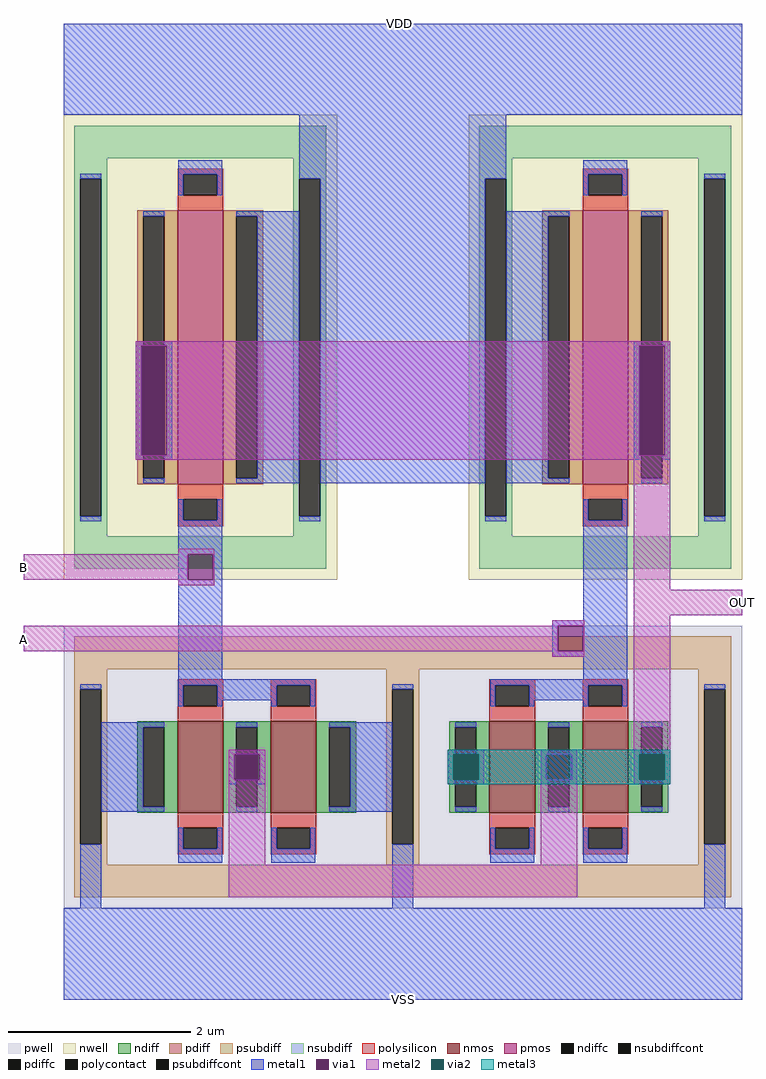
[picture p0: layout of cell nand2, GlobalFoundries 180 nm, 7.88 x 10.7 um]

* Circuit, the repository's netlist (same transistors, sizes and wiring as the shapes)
* NGSPICE file created from nand2.ext - technology: gf180mcuD

.subckt nfet_03v3_EMCFTP a_n378_n286# a_n52_n100# a_52_n192# a_n152_n192# a_152_n100#
+ a_n240_n100#
X0 a_152_n100# a_52_n192# a_n52_n100# a_n378_n286# nfet_03v3 ad=0.44p pd=2.88u as=0.26p ps=1.52u w=1u l=0.5u
X1 a_n52_n100# a_n152_n192# a_n240_n100# a_n378_n286# nfet_03v3 ad=0.26p pd=1.52u as=0.44p ps=2.88u w=1u l=0.5u
.ends

.subckt pfet_03v3_LJVJK4 w_n300_n510# a_n138_n300# a_n50_n392# a_50_n300#
X0 a_50_n300# a_n50_n392# a_n138_n300# w_n300_n510# pfet_03v3 ad=1.32p pd=6.88u as=1.32p ps=6.88u w=3u l=0.5u
.ends

.subckt nand2 VDD OUT A B VSS
XXM1 VSS m1_1652_n588# B B VSS VSS nfet_03v3_EMCFTP
XXM2 VDD OUT B VDD pfet_03v3_LJVJK4
Xnfet_03v3_EMCFTP_0 VSS m1_1652_n588# A A OUT OUT nfet_03v3_EMCFTP
Xpfet_03v3_LJVJK4_0 VDD VDD A OUT pfet_03v3_LJVJK4
.ends

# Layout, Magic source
magic
tech gf180mcuD
magscale 1 10
<< nwell >>
rect 1290 -140 1890 880
rect 2178 -140 2778 880
<< pwell >>
rect 1290 -860 2778 -240
<< nmos >>
rect 1540 -650 1640 -450
rect 1744 -650 1844 -450
rect 2224 -650 2324 -450
rect 2428 -650 2528 -450
<< pmos >>
rect 1540 70 1640 670
rect 2428 70 2528 670
<< ndiff >>
rect 1452 -463 1540 -450
rect 1452 -637 1465 -463
rect 1511 -637 1540 -463
rect 1452 -650 1540 -637
rect 1640 -463 1744 -450
rect 1640 -637 1669 -463
rect 1715 -637 1744 -463
rect 1640 -650 1744 -637
rect 1844 -463 1932 -450
rect 1844 -637 1873 -463
rect 1919 -637 1932 -463
rect 1844 -650 1932 -637
rect 2136 -463 2224 -450
rect 2136 -637 2149 -463
rect 2195 -637 2224 -463
rect 2136 -650 2224 -637
rect 2324 -463 2428 -450
rect 2324 -637 2353 -463
rect 2399 -637 2428 -463
rect 2324 -650 2428 -637
rect 2528 -463 2616 -450
rect 2528 -637 2557 -463
rect 2603 -637 2616 -463
rect 2528 -650 2616 -637
<< pdiff >>
rect 1452 657 1540 670
rect 1452 83 1465 657
rect 1511 83 1540 657
rect 1452 70 1540 83
rect 1640 657 1728 670
rect 1640 83 1669 657
rect 1715 83 1728 657
rect 1640 70 1728 83
rect 2340 657 2428 670
rect 2340 83 2353 657
rect 2399 83 2428 657
rect 2340 70 2428 83
rect 2528 657 2616 670
rect 2528 83 2557 657
rect 2603 83 2616 657
rect 2528 70 2616 83
<< ndiffc >>
rect 1465 -637 1511 -463
rect 1669 -637 1715 -463
rect 1873 -637 1919 -463
rect 2149 -637 2195 -463
rect 2353 -637 2399 -463
rect 2557 -637 2603 -463
<< pdiffc >>
rect 1465 83 1511 657
rect 1669 83 1715 657
rect 2353 83 2399 657
rect 2557 83 2603 657
<< psubdiff >>
rect 1314 -336 2754 -264
rect 1314 -380 1386 -336
rect 1314 -720 1327 -380
rect 1373 -720 1386 -380
rect 1998 -380 2070 -336
rect 1314 -764 1386 -720
rect 1998 -720 2011 -380
rect 2057 -720 2070 -380
rect 2682 -380 2754 -336
rect 1998 -764 2070 -720
rect 2682 -720 2695 -380
rect 2741 -720 2754 -380
rect 2682 -764 2754 -720
rect 1314 -836 2754 -764
<< nsubdiff >>
rect 1314 784 1866 856
rect 1314 740 1386 784
rect 1314 0 1327 740
rect 1373 0 1386 740
rect 1794 740 1866 784
rect 1314 -44 1386 0
rect 1794 0 1807 740
rect 1853 0 1866 740
rect 1794 -44 1866 0
rect 1314 -116 1866 -44
rect 2202 784 2754 856
rect 2202 740 2274 784
rect 2202 0 2215 740
rect 2261 0 2274 740
rect 2682 740 2754 784
rect 2202 -44 2274 0
rect 2682 0 2695 740
rect 2741 0 2754 740
rect 2682 -44 2754 0
rect 2202 -116 2754 -44
<< psubdiffcont >>
rect 1327 -720 1373 -380
rect 2011 -720 2057 -380
rect 2695 -720 2741 -380
<< nsubdiffcont >>
rect 1327 0 1373 740
rect 1807 0 1853 740
rect 2215 0 2261 740
rect 2695 0 2741 740
<< polysilicon >>
rect 1540 749 1640 762
rect 1540 703 1553 749
rect 1627 703 1640 749
rect 1540 670 1640 703
rect 1540 37 1640 70
rect 1540 -9 1553 37
rect 1627 -9 1640 37
rect 1540 -22 1640 -9
rect 2428 749 2528 762
rect 2428 703 2441 749
rect 2515 703 2528 749
rect 2428 670 2528 703
rect 2428 37 2528 70
rect 2428 -9 2441 37
rect 2515 -9 2528 37
rect 2428 -22 2528 -9
rect 1540 -371 1640 -358
rect 1540 -417 1553 -371
rect 1627 -417 1640 -371
rect 1540 -450 1640 -417
rect 1744 -371 1844 -358
rect 1744 -417 1757 -371
rect 1831 -417 1844 -371
rect 1744 -450 1844 -417
rect 1540 -683 1640 -650
rect 1540 -729 1553 -683
rect 1627 -729 1640 -683
rect 1540 -742 1640 -729
rect 1744 -683 1844 -650
rect 1744 -729 1757 -683
rect 1831 -729 1844 -683
rect 1744 -742 1844 -729
rect 2224 -371 2324 -358
rect 2224 -417 2237 -371
rect 2311 -417 2324 -371
rect 2224 -450 2324 -417
rect 2428 -371 2528 -358
rect 2428 -417 2441 -371
rect 2515 -417 2528 -371
rect 2428 -450 2528 -417
rect 2224 -683 2324 -650
rect 2224 -729 2237 -683
rect 2311 -729 2324 -683
rect 2224 -742 2324 -729
rect 2428 -683 2528 -650
rect 2428 -729 2441 -683
rect 2515 -729 2528 -683
rect 2428 -742 2528 -729
<< polycontact >>
rect 1553 703 1627 749
rect 1553 -9 1627 37
rect 2441 703 2515 749
rect 2441 -9 2515 37
rect 1553 -417 1627 -371
rect 1757 -417 1831 -371
rect 1553 -729 1627 -683
rect 1757 -729 1831 -683
rect 2237 -417 2311 -371
rect 2441 -417 2515 -371
rect 2237 -729 2311 -683
rect 2441 -729 2515 -683
<< metal1 >>
rect 1290 880 2778 1080
rect 1327 740 1373 751
rect 1542 749 1638 780
rect 1542 703 1553 749
rect 1627 703 1638 749
rect 1807 740 2261 880
rect 1465 657 1511 668
rect 1448 373 1465 383
rect 1669 657 1807 668
rect 1511 373 1528 383
rect 1448 133 1460 373
rect 1516 133 1528 373
rect 1448 123 1465 133
rect 1511 123 1528 133
rect 1465 72 1511 83
rect 1715 83 1807 657
rect 1669 72 1807 83
rect 1327 -11 1373 0
rect 1542 -9 1553 37
rect 1627 -9 1638 37
rect 1542 -84 1638 -9
rect 1853 72 2215 740
rect 1807 -11 1853 0
rect 2430 749 2526 780
rect 2430 703 2441 749
rect 2515 703 2526 749
rect 2695 740 2741 751
rect 2261 657 2399 668
rect 2261 83 2353 657
rect 2557 657 2603 668
rect 2540 373 2557 383
rect 2603 373 2620 383
rect 2540 133 2552 373
rect 2608 133 2620 373
rect 2540 123 2557 133
rect 2261 72 2399 83
rect 2603 123 2620 133
rect 2557 72 2603 83
rect 2215 -11 2261 0
rect 2430 -9 2441 37
rect 2515 -9 2526 37
rect 1542 -140 1562 -84
rect 1618 -140 1638 -84
rect 1542 -358 1638 -140
rect 2430 -228 2526 -9
rect 2695 -11 2741 0
rect 2362 -240 2526 -228
rect 2362 -296 2374 -240
rect 2430 -296 2526 -240
rect 2362 -308 2526 -296
rect 2430 -358 2526 -308
rect 1327 -380 1373 -369
rect 1542 -371 1842 -358
rect 1542 -417 1553 -371
rect 1627 -404 1757 -371
rect 1627 -417 1638 -404
rect 1746 -417 1757 -404
rect 1831 -417 1842 -371
rect 2011 -380 2057 -369
rect 1373 -463 1511 -452
rect 1373 -637 1465 -463
rect 1669 -463 1715 -452
rect 1652 -522 1669 -512
rect 1873 -463 2011 -452
rect 1715 -522 1732 -512
rect 1652 -578 1664 -522
rect 1720 -578 1732 -522
rect 1652 -588 1669 -578
rect 1373 -648 1511 -637
rect 1715 -588 1732 -578
rect 1669 -648 1715 -637
rect 1919 -637 2011 -463
rect 1873 -648 2011 -637
rect 1327 -860 1373 -720
rect 1542 -729 1553 -683
rect 1627 -729 1638 -683
rect 1542 -760 1638 -729
rect 1746 -729 1757 -683
rect 1831 -729 1842 -683
rect 1746 -760 1842 -729
rect 2226 -371 2526 -358
rect 2226 -417 2237 -371
rect 2311 -404 2441 -371
rect 2311 -417 2322 -404
rect 2430 -417 2441 -404
rect 2515 -417 2526 -371
rect 2695 -380 2741 -369
rect 2149 -463 2195 -452
rect 2132 -522 2149 -512
rect 2353 -463 2399 -452
rect 2195 -522 2212 -512
rect 2132 -578 2144 -522
rect 2200 -578 2212 -522
rect 2132 -588 2149 -578
rect 2195 -588 2212 -578
rect 2336 -522 2353 -512
rect 2557 -463 2603 -452
rect 2399 -522 2416 -512
rect 2336 -578 2348 -522
rect 2404 -578 2416 -522
rect 2336 -588 2353 -578
rect 2149 -648 2195 -637
rect 2399 -588 2416 -578
rect 2540 -522 2557 -512
rect 2603 -522 2620 -512
rect 2540 -578 2552 -522
rect 2608 -578 2620 -522
rect 2540 -588 2557 -578
rect 2353 -648 2399 -637
rect 2603 -588 2620 -578
rect 2557 -648 2603 -637
rect 2011 -860 2057 -720
rect 2226 -729 2237 -683
rect 2311 -729 2322 -683
rect 2226 -760 2322 -729
rect 2430 -729 2441 -683
rect 2515 -729 2526 -683
rect 2430 -760 2526 -729
rect 2695 -860 2741 -720
rect 1290 -1060 2778 -860
<< via1 >>
rect 1460 133 1465 373
rect 1465 133 1511 373
rect 1511 133 1516 373
rect 2552 133 2557 373
rect 2557 133 2603 373
rect 2603 133 2608 373
rect 1562 -140 1618 -84
rect 2374 -296 2430 -240
rect 1664 -578 1669 -522
rect 1669 -578 1715 -522
rect 1715 -578 1720 -522
rect 2144 -578 2149 -522
rect 2149 -578 2195 -522
rect 2195 -578 2200 -522
rect 2348 -578 2353 -522
rect 2353 -578 2399 -522
rect 2399 -578 2404 -522
rect 2552 -578 2557 -522
rect 2557 -578 2603 -522
rect 2603 -578 2608 -522
<< metal2 >>
rect 1448 373 2620 383
rect 1448 133 1460 373
rect 1516 133 2552 373
rect 2608 133 2620 373
rect 1448 123 2620 133
rect 1542 -84 1620 -72
rect 1203 -140 1562 -84
rect 1618 -140 1620 -84
rect 1542 -152 1620 -140
rect 2540 -162 2620 123
rect 2540 -218 2778 -162
rect 2362 -240 2432 -228
rect 1203 -296 2374 -240
rect 2430 -296 2432 -240
rect 2362 -308 2432 -296
rect 1652 -522 1732 -512
rect 1652 -578 1664 -522
rect 1720 -578 1732 -522
rect 1652 -764 1732 -578
rect 2132 -522 2212 -512
rect 2132 -578 2144 -522
rect 2200 -578 2212 -522
rect 2132 -588 2212 -578
rect 2336 -522 2416 -512
rect 2336 -578 2348 -522
rect 2404 -578 2416 -522
rect 2336 -764 2416 -578
rect 2540 -522 2620 -218
rect 2540 -578 2552 -522
rect 2608 -578 2620 -522
rect 2540 -588 2620 -578
rect 1652 -836 2416 -764
<< via2 >>
rect 2144 -578 2200 -522
rect 2552 -578 2608 -522
<< metal3 >>
rect 2132 -522 2620 -512
rect 2132 -578 2144 -522
rect 2200 -578 2552 -522
rect 2608 -578 2620 -522
rect 2132 -588 2620 -578
<< labels >>
rlabel metal1 2026 1080 2026 1080 1 VDD
port 0 n
rlabel metal2 2778 -190 2778 -190 3 OUT
port 1 e
rlabel metal2 1203 -271 1203 -271 7 A
port 2 w
rlabel metal2 1203 -113 1203 -113 7 B
port 3 w
rlabel metal1 2035 -1060 2035 -1060 5 VSS
port 4 s
<< end >>
